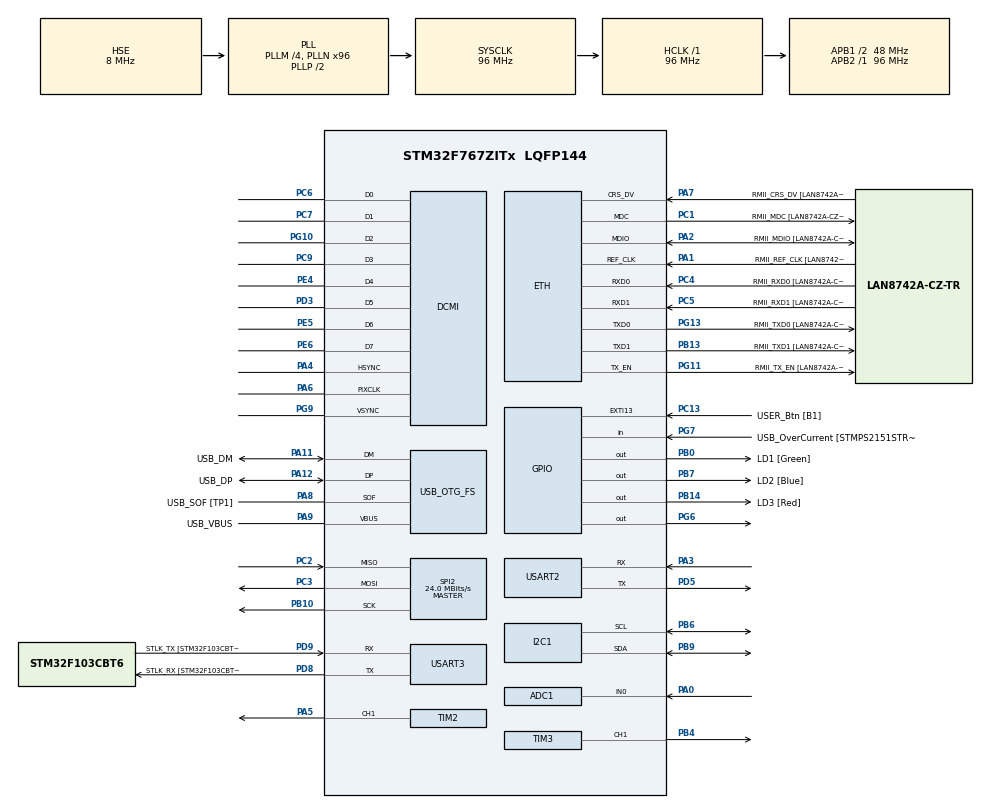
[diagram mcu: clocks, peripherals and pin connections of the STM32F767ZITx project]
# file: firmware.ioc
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ADC1.Channel-0\#ChannelRegularConversion=ADC_CHANNEL_0
ADC1.NbrOfConversionFlag=1
ADC1.Rank-0\#ChannelRegularConversion=1
ADC1.SamplingTime-0\#ChannelRegularConversion=ADC_SAMPLETIME_3CYCLES
ADC1.master=1
CORTEX_M7.default_mode_Activation=1
DCMI.VSPolarity=DCMI_VSPOLARITY_HIGH
Dma.DCMI.0.Direction=DMA_PERIPH_TO_MEMORY
Dma.DCMI.0.FIFOMode=DMA_FIFOMODE_DISABLE
Dma.DCMI.0.Instance=DMA2_Stream1
Dma.DCMI.0.MemDataAlignment=DMA_MDATAALIGN_WORD
Dma.DCMI.0.MemInc=DMA_MINC_ENABLE
Dma.DCMI.0.Mode=DMA_CIRCULAR
Dma.DCMI.0.PeriphDataAlignment=DMA_PDATAALIGN_WORD
Dma.DCMI.0.PeriphInc=DMA_PINC_DISABLE
Dma.DCMI.0.Priority=DMA_PRIORITY_LOW
Dma.Request0=DCMI
ETH.MediaInterface=HAL_ETH_RMII_MODE
ETH.PHY_Name=LAN8742A_PHY_ADDRESS
ETH.PHY_Value=0
ETH.PhyAddress=0
I2C1.Timing=0x20303E5D
Mcu.Family=STM32F7
Mcu.Name=STM32F767ZITx
Mcu.Package=LQFP144
NVIC.DCMI_IRQn=true\:0\:0\:false\:false\:true\:true\:true\:true
NVIC.DMA2_Stream1_IRQn=true\:0\:0\:false\:false\:true\:false\:true\:true
NVIC.PriorityGroup=NVIC_PRIORITYGROUP_4
PA0/WKUP.Signal=ADCx_IN0
PA1.GPIO_Label=RMII_REF_CLK [LAN8742A-CZ-TR_REFCLK0]
PA1.Mode=RMII
PA1.Signal=ETH_REF_CLK
PA10.GPIO_Label=USB_ID
PA10.Signal=USB_OTG_FS_ID
PA11.GPIO_Label=USB_DM
PA11.Mode=Device_Only
PA11.Signal=USB_OTG_FS_DM
PA12.GPIO_Label=USB_DP
PA12.Mode=Device_Only
PA12.Signal=USB_OTG_FS_DP
PA13.GPIO_Label=TMS
PA13.Mode=Serial_Wire
PA13.Signal=SYS_JTMS-SWDIO
PA14.GPIO_Label=TCK
PA14.Mode=Serial_Wire
PA14.Signal=SYS_JTCK-SWCLK
PA2.GPIO_Label=RMII_MDIO [LAN8742A-CZ-TR_MDIO]
PA2.Mode=RMII
PA2.Signal=ETH_MDIO
PA3.Mode=Asynchronous
PA3.Signal=USART2_RX
PA4.Mode=Slave_8_bits_External_Synchro
PA4.Signal=DCMI_HSYNC
PA5.GPIO_Speed=GPIO_SPEED_FREQ_MEDIUM
PA5.Signal=S_TIM2_CH1_ETR
PA6.Mode=Slave_8_bits_External_Synchro
PA6.Signal=DCMI_PIXCLK
PA7.GPIO_Label=RMII_CRS_DV [LAN8742A-CZ-TR_CRS_DV]
PA7.Mode=RMII
PA7.Signal=ETH_CRS_DV
PA8.GPIO_Label=USB_SOF [TP1]
PA8.Mode=Activate_SOF_FS
PA8.Signal=USB_OTG_FS_SOF
PA9.GPIO_Label=USB_VBUS
PA9.Mode=Activate_VBUS
PA9.Signal=USB_OTG_FS_VBUS
PB0.GPIO_Label=LD1 [Green]
PB0.Signal=GPIO_Output
PB10.Mode=Full_Duplex_Master
PB10.Signal=SPI2_SCK
PB13.GPIO_Label=RMII_TXD1 [LAN8742A-CZ-TR_TXD1]
PB13.Mode=RMII
PB13.Signal=ETH_TXD1
PB14.GPIO_Label=LD3 [Red]
PB14.Signal=GPIO_Output
PB3.GPIO_Label=SWO
PB3.Signal=SYS_JTDO-SWO
PB4.Signal=S_TIM3_CH1
PB6.GPIO_Pu=GPIO_PULLUP
PB6.Mode=I2C
PB6.Signal=I2C1_SCL
PB7.GPIO_Label=LD2 [Blue]
PB7.Signal=GPIO_Output
PB9.GPIO_Pu=GPIO_PULLUP
PB9.Mode=I2C
PB9.Signal=I2C1_SDA
PC1.GPIO_Label=RMII_MDC [LAN8742A-CZ-TR_MDC]
PC1.Mode=RMII
PC1.Signal=ETH_MDC
PC13.GPIO_Label=USER_Btn [B1]
PC13.Signal=GPXTI13
PC14/OSC32_IN.Mode=LSE-External-Oscillator
PC14/OSC32_IN.Signal=RCC_OSC32_IN
PC15/OSC32_OUT.Mode=LSE-External-Oscillator
PC15/OSC32_OUT.Signal=RCC_OSC32_OUT
PC2.Mode=Full_Duplex_Master
PC2.Signal=SPI2_MISO
PC3.Mode=Full_Duplex_Master
PC3.Signal=SPI2_MOSI
PC4.GPIO_Label=RMII_RXD0 [LAN8742A-CZ-TR_RXD0]
PC4.Mode=RMII
PC4.Signal=ETH_RXD0
PC5.GPIO_Label=RMII_RXD1 [LAN8742A-CZ-TR_RXD1]
PC5.Mode=RMII
PC5.Signal=ETH_RXD1
PC6.Mode=Slave_8_bits_External_Synchro
PC6.Signal=DCMI_D0
PC7.Mode=Slave_8_bits_External_Synchro
PC7.Signal=DCMI_D1
PC9.Mode=Slave_8_bits_External_Synchro
PC9.Signal=DCMI_D3
PD3.Mode=Slave_8_bits_External_Synchro
PD3.Signal=DCMI_D5
PD5.Mode=Asynchronous
PD5.Signal=USART2_TX
PD8.GPIO_Label=STLK_RX [STM32F103CBT6_PA3]
PD8.Mode=Asynchronous
PD8.Signal=USART3_TX
PD9.GPIO_Label=STLK_TX [STM32F103CBT6_PA2]
PD9.Mode=Asynchronous
PD9.Signal=USART3_RX
PE4.Mode=Slave_8_bits_External_Synchro
PE4.Signal=DCMI_D4
PE5.Mode=Slave_8_bits_External_Synchro
PE5.Signal=DCMI_D6
PE6.Mode=Slave_8_bits_External_Synchro
PE6.Signal=DCMI_D7
PG10.Mode=Slave_8_bits_External_Synchro
PG10.Signal=DCMI_D2
PG11.GPIO_Label=RMII_TX_EN [LAN8742A-CZ-TR_TXEN]
PG11.Mode=RMII
PG11.Signal=ETH_TX_EN
PG13.GPIO_Label=RMII_TXD0 [LAN8742A-CZ-TR_TXD0]
PG13.Mode=RMII
PG13.Signal=ETH_TXD0
PG6.Signal=GPIO_Output
PG7.GPIO_Label=USB_OverCurrent [STMPS2151STR_FAULT]
PG7.Signal=GPIO_Input
PG9.Mode=Slave_8_bits_External_Synchro
PG9.Signal=DCMI_VSYNC
PH0/OSC_IN.GPIO_Label=MCO [STM32F103CBT6_PA8]
PH0/OSC_IN.Mode=HSE-External-Clock-Source
PH0/OSC_IN.Signal=RCC_OSC_IN
PH1/OSC_OUT.Mode=HSE-External-Clock-Source
PH1/OSC_OUT.Signal=RCC_OSC_OUT
ProjectManager.HeapSize=0x200
ProjectManager.StackSize=0x400
ProjectManager.TargetToolchain=Makefile
RCC.48MHZClocksFreq_Value=24000000
RCC.AHBFreq_Value=96000000
RCC.APB1CLKDivider=RCC_HCLK_DIV2
RCC.APB1Freq_Value=48000000
RCC.APB1TimFreq_Value=96000000
RCC.APB2Freq_Value=96000000
RCC.APB2TimFreq_Value=96000000
RCC.CortexFreq_Value=96000000
RCC.HCLKFreq_Value=96000000
RCC.HSE_VALUE=8000000
RCC.HSI_VALUE=16000000
RCC.PLLM=4
RCC.PLLMUL=RCC_PLL_MUL9
RCC.PLLN=96
RCC.PLLQ=4
RCC.PRESCALERUSB=RCC_USBCLKSOURCE_PLL_DIV1_5
RCC.SYSCLKFreq_VALUE=96000000
RCC.SYSCLKSource=RCC_SYSCLKSOURCE_PLLCLK
RCC.SYSCLKSourceVirtual=RCC_SYSCLKSOURCE_PLLCLK
RCC.USBFreq_Value=48000000
RCC.VCOOutputFreq_Value=192000000
SH.ADCx_IN0.0=ADC1_IN0,IN0
SH.S_TIM2_CH1_ETR.0=TIM2_CH1,PWM Generation1 CH1
SH.S_TIM3_CH1.0=TIM3_CH1,PWM Generation1 CH1
SPI2.CalculateBaudRate=24.0 MBits/s
SPI2.Direction=SPI_DIRECTION_2LINES
SPI2.Mode=SPI_MODE_MASTER
SPI2.VirtualType=VM_MASTER
TIM2.AutoReloadPreload=TIM_AUTORELOAD_PRELOAD_ENABLE
TIM2.Channel-PWM\ Generation1\ CH1=TIM_CHANNEL_1
TIM2.Period=3
TIM2.Pulse-PWM\ Generation1\ CH1=2
TIM3.Channel-PWM\ Generation1\ CH1=TIM_CHANNEL_1
USART2.VirtualMode-Asynchronous=VM_ASYNC
USART3.VirtualMode-Asynchronous=VM_ASYNC
USB_OTG_FS.VirtualMode=Device_Only
VP_TIM2_VS_ClockSourceINT.Mode=Internal
board=NUCLEO-F767ZI

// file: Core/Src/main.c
/* USER CODE BEGIN Header */
/**
  ******************************************************************************
  * @file           : main.c
  * @brief          : Main program body
  ******************************************************************************
  * @attention
  *
  * Copyright (c) 2026 STMicroelectronics.
  * All rights reserved.
  *
  * This software is licensed under terms that can be found in the LICENSE file
  * in the root directory of this software component.
  * If no LICENSE file comes with this software, it is provided AS-IS.
  *
  ******************************************************************************
  */
/* USER CODE END Header */
#include "main.h"
#include "string.h"

/* USER CODE BEGIN Includes */
#include "stdio.h"

/* USER CODE END Includes */

/* USER CODE BEGIN PD */
#define OV7670_I2C_ADDRESS 0x42 // 8-бітна адреса OV7670
/* USER CODE END PD */

#if defined ( __ICCARM__ ) /*!< IAR Compiler */
#pragma location=0x2007c000
ETH_DMADescTypeDef  DMARxDscrTab[ETH_RX_DESC_CNT]; /* Ethernet Rx DMA Descriptors */
#pragma location=0x2007c0a0
ETH_DMADescTypeDef  DMATxDscrTab[ETH_TX_DESC_CNT]; /* Ethernet Tx DMA Descriptors */

#elif defined ( __CC_ARM )  /* MDK ARM Compiler */

__attribute__((at(0x2007c000))) ETH_DMADescTypeDef  DMARxDscrTab[ETH_RX_DESC_CNT]; /* Ethernet Rx DMA Descriptors */
__attribute__((at(0x2007c0a0))) ETH_DMADescTypeDef  DMATxDscrTab[ETH_TX_DESC_CNT]; /* Ethernet Tx DMA Descriptors */

#elif defined ( __GNUC__ ) /* GNU Compiler */

ETH_DMADescTypeDef DMARxDscrTab[ETH_RX_DESC_CNT] __attribute__((section(".RxDecripSection"))); /* Ethernet Rx DMA Descriptors */
ETH_DMADescTypeDef DMATxDscrTab[ETH_TX_DESC_CNT] __attribute__((section(".TxDecripSection")));   /* Ethernet Tx DMA Descriptors */
#endif

ETH_TxPacketConfig TxConfig;

ADC_HandleTypeDef hadc1;

DCMI_HandleTypeDef hdcmi;
DMA_HandleTypeDef hdma_dcmi;

ETH_HandleTypeDef heth;

I2C_HandleTypeDef hi2c1;

SPI_HandleTypeDef hspi2;

TIM_HandleTypeDef htim2;
TIM_HandleTypeDef htim3;

UART_HandleTypeDef huart2;
UART_HandleTypeDef huart3;

PCD_HandleTypeDef hpcd_USB_OTG_FS;

void SystemClock_Config(void);
static void MPU_Config(void);
static void MX_GPIO_Init(void);
static void MX_DMA_Init(void);
static void MX_ETH_Init(void);
static void MX_I2C1_Init(void);
static void MX_SPI2_Init(void);
static void MX_USART2_UART_Init(void);
static void MX_USART3_UART_Init(void);
static void MX_USB_OTG_FS_PCD_Init(void);
static void MX_ADC1_Init(void);
static void MX_TIM3_Init(void);
static void MX_DCMI_Init(void);
static void MX_TIM2_Init(void);

/* USER CODE BEGIN 0 */
int _write(int fd, char *p, int n) {
 HAL_UART_Transmit(&huart3, (uint8_t*)p, n, HAL_MAX_DELAY);
 return n;
}

/* USER CODE END 0 */

int main(void)
{

  /* USER CODE BEGIN 1 */
  HAL_StatusTypeDef status;
  /* USER CODE END 1 */

  /* MPU Configuration--------------------------------------------------------*/
  MPU_Config();

  /* MCU Configuration--------------------------------------------------------*/

  /* Reset of all peripherals, Initializes the Flash interface and the Systick. */
  HAL_Init();

  /* Configure the system clock */
  SystemClock_Config();

  /* Initialize all configured peripherals */
  MX_GPIO_Init();
  MX_DMA_Init();
  MX_ETH_Init();
  MX_I2C1_Init();
  MX_SPI2_Init();
  MX_USART2_UART_Init();
  MX_USART3_UART_Init();
  MX_USB_OTG_FS_PCD_Init();
  MX_ADC1_Init();
  MX_TIM3_Init();
  MX_DCMI_Init();
  MX_TIM2_Init();
  /* USER CODE BEGIN 2 */
  HAL_GPIO_WritePin(LD2_GPIO_Port, LD2_Pin, GPIO_PIN_SET);
  printf("hello from STM32\r\n");

  // Запуск генерації 24 МГц XCLK для OV7670 на CH1 TIM2
  status = HAL_TIM_PWM_Start(&htim2, TIM_CHANNEL_1);
  printf("OV7670 clock status: %d\r\n", status);

  // Перевіряємо наявність камери на I2C
  if (HAL_I2C_IsDeviceReady(&hi2c1, OV7670_I2C_ADDRESS, 3, 100) == HAL_OK) {
    printf("OV7670 camera detected successfully\r\n");
  } else {
    printf("ERROR: OV7670 camera not found\r\n");
  }
  /* USER CODE END 2 */

  /* Infinite loop */
  /* USER CODE BEGIN WHILE */
  while (1)
  {
    HAL_Delay(1000);
    HAL_GPIO_TogglePin(LD2_GPIO_Port, LD2_Pin);
    printf("tick %lu\r\n", HAL_GetTick());
    /* USER CODE END WHILE */

  }
}

void SystemClock_Config(void)
{
  RCC_OscInitTypeDef RCC_OscInitStruct = {0};
  RCC_ClkInitTypeDef RCC_ClkInitStruct = {0};

  /** Configure LSE Drive Capability
  */
  HAL_PWR_EnableBkUpAccess();

  /** Configure the main internal regulator output voltage
  */
  __HAL_RCC_PWR_CLK_ENABLE();
  __HAL_PWR_VOLTAGESCALING_CONFIG(PWR_REGULATOR_VOLTAGE_SCALE3);

  /** Initializes the RCC Oscillators according to the specified parameters
  * in the RCC_OscInitTypeDef structure.
  */
  RCC_OscInitStruct.OscillatorType = RCC_OSCILLATORTYPE_HSE;
  RCC_OscInitStruct.HSEState = RCC_HSE_BYPASS;
  RCC_OscInitStruct.PLL.PLLState = RCC_PLL_ON;
  RCC_OscInitStruct.PLL.PLLSource = RCC_PLLSOURCE_HSE;
  RCC_OscInitStruct.PLL.PLLM = 4;
  RCC_OscInitStruct.PLL.PLLN = 96;
  RCC_OscInitStruct.PLL.PLLP = RCC_PLLP_DIV2;
  RCC_OscInitStruct.PLL.PLLQ = 4;
  RCC_OscInitStruct.PLL.PLLR = 2;
  if (HAL_RCC_OscConfig(&RCC_OscInitStruct) != HAL_OK)
  {
    Error_Handler();
  }

  /** Activate the Over-Drive mode
  */
  if (HAL_PWREx_EnableOverDrive() != HAL_OK)
  {
    Error_Handler();
  }

  /** Initializes the CPU, AHB and APB buses clocks
  */
  RCC_ClkInitStruct.ClockType = RCC_CLOCKTYPE_HCLK|RCC_CLOCKTYPE_SYSCLK
                              |RCC_CLOCKTYPE_PCLK1|RCC_CLOCKTYPE_PCLK2;
  RCC_ClkInitStruct.SYSCLKSource = RCC_SYSCLKSOURCE_PLLCLK;
  RCC_ClkInitStruct.AHBCLKDivider = RCC_SYSCLK_DIV1;
  RCC_ClkInitStruct.APB1CLKDivider = RCC_HCLK_DIV2;
  RCC_ClkInitStruct.APB2CLKDivider = RCC_HCLK_DIV1;

  if (HAL_RCC_ClockConfig(&RCC_ClkInitStruct, FLASH_LATENCY_3) != HAL_OK)
  {
    Error_Handler();
  }
}

static void MX_ADC1_Init(void)
{

  ADC_ChannelConfTypeDef sConfig = {0};

  /** Configure the global features of the ADC (Clock, Resolution, Data Alignment and number of conversion)
  */
  hadc1.Instance = ADC1;
  hadc1.Init.ClockPrescaler = ADC_CLOCK_SYNC_PCLK_DIV4;
  hadc1.Init.Resolution = ADC_RESOLUTION_12B;
  hadc1.Init.ScanConvMode = ADC_SCAN_DISABLE;
  hadc1.Init.ContinuousConvMode = DISABLE;
  hadc1.Init.DiscontinuousConvMode = DISABLE;
  hadc1.Init.ExternalTrigConvEdge = ADC_EXTERNALTRIGCONVEDGE_NONE;
  hadc1.Init.ExternalTrigConv = ADC_SOFTWARE_START;
  hadc1.Init.DataAlign = ADC_DATAALIGN_RIGHT;
  hadc1.Init.NbrOfConversion = 1;
  hadc1.Init.DMAContinuousRequests = DISABLE;
  hadc1.Init.EOCSelection = ADC_EOC_SINGLE_CONV;
  if (HAL_ADC_Init(&hadc1) != HAL_OK)
  {
    Error_Handler();
  }

  /** Configure for the selected ADC regular channel its corresponding rank in the sequencer and its sample time.
  */
  sConfig.Channel = ADC_CHANNEL_0;
  sConfig.Rank = ADC_REGULAR_RANK_1;
  sConfig.SamplingTime = ADC_SAMPLETIME_3CYCLES;
  if (HAL_ADC_ConfigChannel(&hadc1, &sConfig) != HAL_OK)
  {
    Error_Handler();
  }

}

static void MX_DCMI_Init(void)
{

  hdcmi.Instance = DCMI;
  hdcmi.Init.SynchroMode = DCMI_SYNCHRO_HARDWARE;
  hdcmi.Init.PCKPolarity = DCMI_PCKPOLARITY_FALLING;
  hdcmi.Init.VSPolarity = DCMI_VSPOLARITY_HIGH;
  hdcmi.Init.HSPolarity = DCMI_HSPOLARITY_LOW;
  hdcmi.Init.CaptureRate = DCMI_CR_ALL_FRAME;
  hdcmi.Init.ExtendedDataMode = DCMI_EXTEND_DATA_8B;
  hdcmi.Init.JPEGMode = DCMI_JPEG_DISABLE;
  hdcmi.Init.ByteSelectMode = DCMI_BSM_ALL;
  hdcmi.Init.ByteSelectStart = DCMI_OEBS_ODD;
  hdcmi.Init.LineSelectMode = DCMI_LSM_ALL;
  hdcmi.Init.LineSelectStart = DCMI_OELS_ODD;
  if (HAL_DCMI_Init(&hdcmi) != HAL_OK)
  {
    Error_Handler();
  }

}

static void MX_ETH_Init(void)
{

   static uint8_t MACAddr[6];

  heth.Instance = ETH;
  MACAddr[0] = 0x00;
  MACAddr[1] = 0x80;
  MACAddr[2] = 0xE1;
  MACAddr[3] = 0x00;
  MACAddr[4] = 0x00;
  MACAddr[5] = 0x00;
  heth.Init.MACAddr = &MACAddr[0];
  heth.Init.MediaInterface = HAL_ETH_RMII_MODE;
  heth.Init.TxDesc = DMATxDscrTab;
  heth.Init.RxDesc = DMARxDscrTab;
  heth.Init.RxBuffLen = 1524;

  if (HAL_ETH_Init(&heth) != HAL_OK)
  {
    Error_Handler();
  }

  memset(&TxConfig, 0 , sizeof(ETH_TxPacketConfig));
  TxConfig.Attributes = ETH_TX_PACKETS_FEATURES_CSUM | ETH_TX_PACKETS_FEATURES_CRCPAD;
  TxConfig.ChecksumCtrl = ETH_CHECKSUM_IPHDR_PAYLOAD_INSERT_PHDR_CALC;
  TxConfig.CRCPadCtrl = ETH_CRC_PAD_INSERT;

}

static void MX_I2C1_Init(void)
{

  hi2c1.Instance = I2C1;
  hi2c1.Init.Timing = 0x20303E5D;
  hi2c1.Init.OwnAddress1 = 0;
  hi2c1.Init.AddressingMode = I2C_ADDRESSINGMODE_7BIT;
  hi2c1.Init.DualAddressMode = I2C_DUALADDRESS_DISABLE;
  hi2c1.Init.OwnAddress2 = 0;
  hi2c1.Init.OwnAddress2Masks = I2C_OA2_NOMASK;
  hi2c1.Init.GeneralCallMode = I2C_GENERALCALL_DISABLE;
  hi2c1.Init.NoStretchMode = I2C_NOSTRETCH_DISABLE;
  if (HAL_I2C_Init(&hi2c1) != HAL_OK)
  {
    Error_Handler();
  }

  /** Configure Analogue filter
  */
  if (HAL_I2CEx_ConfigAnalogFilter(&hi2c1, I2C_ANALOGFILTER_ENABLE) != HAL_OK)
  {
    Error_Handler();
  }

  /** Configure Digital filter
  */
  if (HAL_I2CEx_ConfigDigitalFilter(&hi2c1, 0) != HAL_OK)
  {
    Error_Handler();
  }

}

static void MX_SPI2_Init(void)
{

  /* SPI2 parameter configuration*/
  hspi2.Instance = SPI2;
  hspi2.Init.Mode = SPI_MODE_MASTER;
  hspi2.Init.Direction = SPI_DIRECTION_2LINES;
  hspi2.Init.DataSize = SPI_DATASIZE_4BIT;
  hspi2.Init.CLKPolarity = SPI_POLARITY_LOW;
  hspi2.Init.CLKPhase = SPI_PHASE_1EDGE;
  hspi2.Init.NSS = SPI_NSS_SOFT;
  hspi2.Init.BaudRatePrescaler = SPI_BAUDRATEPRESCALER_2;
  hspi2.Init.FirstBit = SPI_FIRSTBIT_MSB;
  hspi2.Init.TIMode = SPI_TIMODE_DISABLE;
  hspi2.Init.CRCCalculation = SPI_CRCCALCULATION_DISABLE;
  hspi2.Init.CRCPolynomial = 7;
  hspi2.Init.CRCLength = SPI_CRC_LENGTH_DATASIZE;
  hspi2.Init.NSSPMode = SPI_NSS_PULSE_ENABLE;
  if (HAL_SPI_Init(&hspi2) != HAL_OK)
  {
    Error_Handler();
  }

}

static void MX_TIM2_Init(void)
{

  TIM_ClockConfigTypeDef sClockSourceConfig = {0};
  TIM_MasterConfigTypeDef sMasterConfig = {0};
  TIM_OC_InitTypeDef sConfigOC = {0};

  htim2.Instance = TIM2;
  htim2.Init.Prescaler = 0;
  htim2.Init.CounterMode = TIM_COUNTERMODE_UP;
  htim2.Init.Period = 3;
  htim2.Init.ClockDivision = TIM_CLOCKDIVISION_DIV1;
  htim2.Init.AutoReloadPreload = TIM_AUTORELOAD_PRELOAD_ENABLE;
  if (HAL_TIM_Base_Init(&htim2) != HAL_OK)
  {
    Error_Handler();
  }
  sClockSourceConfig.ClockSource = TIM_CLOCKSOURCE_INTERNAL;
  if (HAL_TIM_ConfigClockSource(&htim2, &sClockSourceConfig) != HAL_OK)
  {
    Error_Handler();
  }
  if (HAL_TIM_PWM_Init(&htim2) != HAL_OK)
  {
    Error_Handler();
  }
  sMasterConfig.MasterOutputTrigger = TIM_TRGO_RESET;
  sMasterConfig.MasterSlaveMode = TIM_MASTERSLAVEMODE_DISABLE;
  if (HAL_TIMEx_MasterConfigSynchronization(&htim2, &sMasterConfig) != HAL_OK)
  {
    Error_Handler();
  }
  sConfigOC.OCMode = TIM_OCMODE_PWM1;
  sConfigOC.Pulse = 2;
  sConfigOC.OCPolarity = TIM_OCPOLARITY_HIGH;
  sConfigOC.OCFastMode = TIM_OCFAST_DISABLE;
  if (HAL_TIM_PWM_ConfigChannel(&htim2, &sConfigOC, TIM_CHANNEL_1) != HAL_OK)
  {
    Error_Handler();
  }
  HAL_TIM_MspPostInit(&htim2);

}

static void MX_TIM3_Init(void)
{

  TIM_MasterConfigTypeDef sMasterConfig = {0};
  TIM_OC_InitTypeDef sConfigOC = {0};

  htim3.Instance = TIM3;
  htim3.Init.Prescaler = 0;
  htim3.Init.CounterMode = TIM_COUNTERMODE_UP;
  htim3.Init.Period = 65535;
  htim3.Init.ClockDivision = TIM_CLOCKDIVISION_DIV1;
  htim3.Init.AutoReloadPreload = TIM_AUTORELOAD_PRELOAD_DISABLE;
  if (HAL_TIM_PWM_Init(&htim3) != HAL_OK)
  {
    Error_Handler();
  }
  sMasterConfig.MasterOutputTrigger = TIM_TRGO_RESET;
  sMasterConfig.MasterSlaveMode = TIM_MASTERSLAVEMODE_DISABLE;
  if (HAL_TIMEx_MasterConfigSynchronization(&htim3, &sMasterConfig) != HAL_OK)
  {
    Error_Handler();
  }
  sConfigOC.OCMode = TIM_OCMODE_PWM1;
  sConfigOC.Pulse = 0;
  sConfigOC.OCPolarity = TIM_OCPOLARITY_HIGH;
  sConfigOC.OCFastMode = TIM_OCFAST_DISABLE;
  if (HAL_TIM_PWM_ConfigChannel(&htim3, &sConfigOC, TIM_CHANNEL_1) != HAL_OK)
  {
    Error_Handler();
  }
  HAL_TIM_MspPostInit(&htim3);

}

static void MX_USART2_UART_Init(void)
{

  huart2.Instance = USART2;
  huart2.Init.BaudRate = 115200;
  huart2.Init.WordLength = UART_WORDLENGTH_8B;
  huart2.Init.StopBits = UART_STOPBITS_1;
  huart2.Init.Parity = UART_PARITY_NONE;
  huart2.Init.Mode = UART_MODE_TX_RX;
  huart2.Init.HwFlowCtl = UART_HWCONTROL_NONE;
  huart2.Init.OverSampling = UART_OVERSAMPLING_16;
  huart2.Init.OneBitSampling = UART_ONE_BIT_SAMPLE_DISABLE;
  huart2.AdvancedInit.AdvFeatureInit = UART_ADVFEATURE_NO_INIT;
  if (HAL_UART_Init(&huart2) != HAL_OK)
  {
    Error_Handler();
  }

}

static void MX_USART3_UART_Init(void)
{

  huart3.Instance = USART3;
  huart3.Init.BaudRate = 115200;
  huart3.Init.WordLength = UART_WORDLENGTH_8B;
  huart3.Init.StopBits = UART_STOPBITS_1;
  huart3.Init.Parity = UART_PARITY_NONE;
  huart3.Init.Mode = UART_MODE_TX_RX;
  huart3.Init.HwFlowCtl = UART_HWCONTROL_NONE;
  huart3.Init.OverSampling = UART_OVERSAMPLING_16;
  huart3.Init.OneBitSampling = UART_ONE_BIT_SAMPLE_DISABLE;
  huart3.AdvancedInit.AdvFeatureInit = UART_ADVFEATURE_NO_INIT;
  if (HAL_UART_Init(&huart3) != HAL_OK)
  {
    Error_Handler();
  }

}

static void MX_USB_OTG_FS_PCD_Init(void)
{

  hpcd_USB_OTG_FS.Instance = USB_OTG_FS;
  hpcd_USB_OTG_FS.Init.dev_endpoints = 6;
  hpcd_USB_OTG_FS.Init.speed = PCD_SPEED_FULL;
  hpcd_USB_OTG_FS.Init.dma_enable = DISABLE;
  hpcd_USB_OTG_FS.Init.phy_itface = PCD_PHY_EMBEDDED;
  hpcd_USB_OTG_FS.Init.Sof_enable = ENABLE;
  hpcd_USB_OTG_FS.Init.low_power_enable = DISABLE;
  hpcd_USB_OTG_FS.Init.lpm_enable = DISABLE;
  hpcd_USB_OTG_FS.Init.vbus_sensing_enable = ENABLE;
  hpcd_USB_OTG_FS.Init.use_dedicated_ep1 = DISABLE;
  if (HAL_PCD_Init(&hpcd_USB_OTG_FS) != HAL_OK)
  {
    Error_Handler();
  }

}

static void MX_DMA_Init(void)
{

  /* DMA controller clock enable */
  __HAL_RCC_DMA2_CLK_ENABLE();

  /* DMA interrupt init */
  /* DMA2_Stream1_IRQn interrupt configuration */
  HAL_NVIC_SetPriority(DMA2_Stream1_IRQn, 0, 0);
  HAL_NVIC_EnableIRQ(DMA2_Stream1_IRQn);

}

static void MX_GPIO_Init(void)
{
  GPIO_InitTypeDef GPIO_InitStruct = {0};

  /* GPIO Ports Clock Enable */
  __HAL_RCC_GPIOE_CLK_ENABLE();
  __HAL_RCC_GPIOC_CLK_ENABLE();
  __HAL_RCC_GPIOH_CLK_ENABLE();
  __HAL_RCC_GPIOA_CLK_ENABLE();
  __HAL_RCC_GPIOB_CLK_ENABLE();
  __HAL_RCC_GPIOD_CLK_ENABLE();
  __HAL_RCC_GPIOG_CLK_ENABLE();

  /*Configure GPIO pin Output Level */
  HAL_GPIO_WritePin(GPIOB, LD1_Pin|LD3_Pin|LD2_Pin, GPIO_PIN_RESET);

  /*Configure GPIO pin Output Level */
  HAL_GPIO_WritePin(GPIOG, GPIO_PIN_6, GPIO_PIN_RESET);

  /*Configure GPIO pin : USER_Btn_Pin */
  GPIO_InitStruct.Pin = USER_Btn_Pin;
  GPIO_InitStruct.Mode = GPIO_MODE_IT_RISING;
  GPIO_InitStruct.Pull = GPIO_NOPULL;
  HAL_GPIO_Init(USER_Btn_GPIO_Port, &GPIO_InitStruct);

  /*Configure GPIO pins : LD1_Pin LD3_Pin LD2_Pin */
  GPIO_InitStruct.Pin = LD1_Pin|LD3_Pin|LD2_Pin;
  GPIO_InitStruct.Mode = GPIO_MODE_OUTPUT_PP;
  GPIO_InitStruct.Pull = GPIO_NOPULL;
  GPIO_InitStruct.Speed = GPIO_SPEED_FREQ_LOW;
  HAL_GPIO_Init(GPIOB, &GPIO_InitStruct);

  /*Configure GPIO pin : PG6 */
  GPIO_InitStruct.Pin = GPIO_PIN_6;
  GPIO_InitStruct.Mode = GPIO_MODE_OUTPUT_PP;
  GPIO_InitStruct.Pull = GPIO_NOPULL;
  GPIO_InitStruct.Speed = GPIO_SPEED_FREQ_LOW;
  HAL_GPIO_Init(GPIOG, &GPIO_InitStruct);

  /*Configure GPIO pin : USB_OverCurrent_Pin */
  GPIO_InitStruct.Pin = USB_OverCurrent_Pin;
  GPIO_InitStruct.Mode = GPIO_MODE_INPUT;
  GPIO_InitStruct.Pull = GPIO_NOPULL;
  HAL_GPIO_Init(USB_OverCurrent_GPIO_Port, &GPIO_InitStruct);

}

 /* MPU Configuration */

void MPU_Config(void)
{
  MPU_Region_InitTypeDef MPU_InitStruct = {0};

  /* Disables the MPU */
  HAL_MPU_Disable();

  /** Initializes and configures the Region and the memory to be protected
  */
  MPU_InitStruct.Enable = MPU_REGION_ENABLE;
  MPU_InitStruct.Number = MPU_REGION_NUMBER0;
  MPU_InitStruct.BaseAddress = 0x0;
  MPU_InitStruct.Size = MPU_REGION_SIZE_4GB;
  MPU_InitStruct.SubRegionDisable = 0x87;
  MPU_InitStruct.TypeExtField = MPU_TEX_LEVEL0;
  MPU_InitStruct.AccessPermission = MPU_REGION_NO_ACCESS;
  MPU_InitStruct.DisableExec = MPU_INSTRUCTION_ACCESS_DISABLE;
  MPU_InitStruct.IsShareable = MPU_ACCESS_SHAREABLE;
  MPU_InitStruct.IsCacheable = MPU_ACCESS_NOT_CACHEABLE;
  MPU_InitStruct.IsBufferable = MPU_ACCESS_NOT_BUFFERABLE;

  HAL_MPU_ConfigRegion(&MPU_InitStruct);
  /* Enables the MPU */
  HAL_MPU_Enable(MPU_PRIVILEGED_DEFAULT);

}

void Error_Handler(void)
{
  __disable_irq();
  while (1)
  {
  }
}
